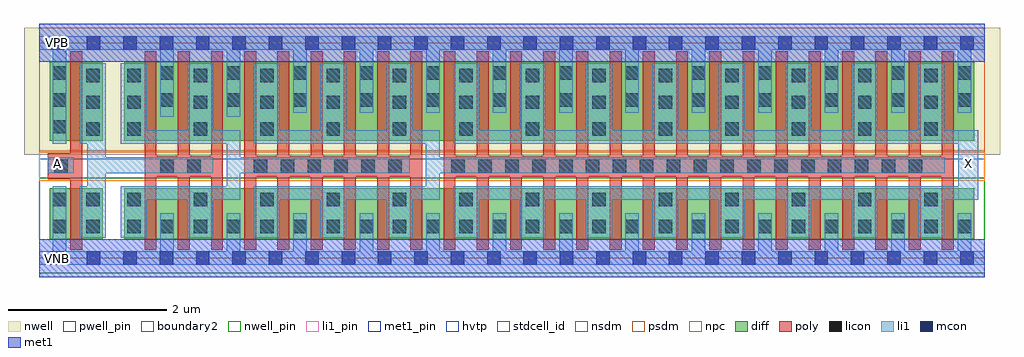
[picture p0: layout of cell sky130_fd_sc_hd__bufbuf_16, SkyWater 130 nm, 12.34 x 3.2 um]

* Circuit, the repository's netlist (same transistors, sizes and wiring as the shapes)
* Copyright 2020 The SkyWater PDK Authors
*
* Licensed under the Apache License, Version 2.0 (the "License");
* you may not use this file except in compliance with the License.
* You may obtain a copy of the License at
*
*     https://www.apache.org/licenses/LICENSE-2.0
*
* Unless required by applicable law or agreed to in writing, software
* distributed under the License is distributed on an "AS IS" BASIS,
* WITHOUT WARRANTIES OR CONDITIONS OF ANY KIND, either express or implied.
* See the License for the specific language governing permissions and
* limitations under the License.
*
* SPDX-License-Identifier: Apache-2.0


.subckt sky130_fd_sc_hd__bufbuf_16 A VGND VNB VPB VPWR X
X0 X a_549_47# VPWR VPB sky130_fd_pr__pfet_01v8_hvt w=1 l=150000u
X1 VGND a_215_47# a_549_47# VNB sky130_fd_pr__nfet_01v8 w=650000u l=150000u
X2 X a_549_47# VPWR VPB sky130_fd_pr__pfet_01v8_hvt w=1 l=150000u
X3 VGND a_549_47# X VNB sky130_fd_pr__nfet_01v8 w=650000u l=150000u
X4 VPWR a_549_47# X VPB sky130_fd_pr__pfet_01v8_hvt w=1 l=150000u
X5 VGND a_549_47# X VNB sky130_fd_pr__nfet_01v8 w=650000u l=150000u
X6 X a_549_47# VGND VNB sky130_fd_pr__nfet_01v8 w=650000u l=150000u
X7 a_549_47# a_215_47# VGND VNB sky130_fd_pr__nfet_01v8 w=650000u l=150000u
X8 X a_549_47# VPWR VPB sky130_fd_pr__pfet_01v8_hvt w=1 l=150000u
X9 a_215_47# a_109_47# VGND VNB sky130_fd_pr__nfet_01v8 w=650000u l=150000u
X10 a_549_47# a_215_47# VGND VNB sky130_fd_pr__nfet_01v8 w=650000u l=150000u
X11 VPWR a_215_47# a_549_47# VPB sky130_fd_pr__pfet_01v8_hvt w=1 l=150000u
X12 VGND a_549_47# X VNB sky130_fd_pr__nfet_01v8 w=650000u l=150000u
X13 X a_549_47# VPWR VPB sky130_fd_pr__pfet_01v8_hvt w=1 l=150000u
X14 VGND a_549_47# X VNB sky130_fd_pr__nfet_01v8 w=650000u l=150000u
X15 a_215_47# a_109_47# VPWR VPB sky130_fd_pr__pfet_01v8_hvt w=1 l=150000u
X16 X a_549_47# VPWR VPB sky130_fd_pr__pfet_01v8_hvt w=1 l=150000u
X17 VPWR a_549_47# X VPB sky130_fd_pr__pfet_01v8_hvt w=1 l=150000u
X18 a_215_47# a_109_47# VPWR VPB sky130_fd_pr__pfet_01v8_hvt w=1 l=150000u
X19 a_549_47# a_215_47# VPWR VPB sky130_fd_pr__pfet_01v8_hvt w=1 l=150000u
X20 VPWR a_549_47# X VPB sky130_fd_pr__pfet_01v8_hvt w=1 l=150000u
X21 X a_549_47# VGND VNB sky130_fd_pr__nfet_01v8 w=650000u l=150000u
X22 X a_549_47# VPWR VPB sky130_fd_pr__pfet_01v8_hvt w=1 l=150000u
X23 VPWR a_549_47# X VPB sky130_fd_pr__pfet_01v8_hvt w=1 l=150000u
X24 VPWR a_109_47# a_215_47# VPB sky130_fd_pr__pfet_01v8_hvt w=1 l=150000u
X25 VGND a_215_47# a_549_47# VNB sky130_fd_pr__nfet_01v8 w=650000u l=150000u
X26 VPWR a_549_47# X VPB sky130_fd_pr__pfet_01v8_hvt w=1 l=150000u
X27 X a_549_47# VGND VNB sky130_fd_pr__nfet_01v8 w=650000u l=150000u
X28 VPWR a_549_47# X VPB sky130_fd_pr__pfet_01v8_hvt w=1 l=150000u
X29 VGND a_215_47# a_549_47# VNB sky130_fd_pr__nfet_01v8 w=650000u l=150000u
X30 X a_549_47# VGND VNB sky130_fd_pr__nfet_01v8 w=650000u l=150000u
X31 X a_549_47# VGND VNB sky130_fd_pr__nfet_01v8 w=650000u l=150000u
X32 a_549_47# a_215_47# VPWR VPB sky130_fd_pr__pfet_01v8_hvt w=1 l=150000u
X33 a_215_47# a_109_47# VGND VNB sky130_fd_pr__nfet_01v8 w=650000u l=150000u
X34 VGND a_549_47# X VNB sky130_fd_pr__nfet_01v8 w=650000u l=150000u
X35 X a_549_47# VPWR VPB sky130_fd_pr__pfet_01v8_hvt w=1 l=150000u
X36 VGND a_549_47# X VNB sky130_fd_pr__nfet_01v8 w=650000u l=150000u
X37 VPWR a_215_47# a_549_47# VPB sky130_fd_pr__pfet_01v8_hvt w=1 l=150000u
X38 VGND A a_109_47# VNB sky130_fd_pr__nfet_01v8 w=650000u l=150000u
X39 VPWR a_215_47# a_549_47# VPB sky130_fd_pr__pfet_01v8_hvt w=1 l=150000u
X40 VGND a_549_47# X VNB sky130_fd_pr__nfet_01v8 w=650000u l=150000u
X41 VPWR A a_109_47# VPB sky130_fd_pr__pfet_01v8_hvt w=1 l=150000u
X42 VPWR a_549_47# X VPB sky130_fd_pr__pfet_01v8_hvt w=1 l=150000u
X43 VGND a_109_47# a_215_47# VNB sky130_fd_pr__nfet_01v8 w=650000u l=150000u
X44 VPWR a_549_47# X VPB sky130_fd_pr__pfet_01v8_hvt w=1 l=150000u
X45 a_549_47# a_215_47# VGND VNB sky130_fd_pr__nfet_01v8 w=650000u l=150000u
X46 VGND a_549_47# X VNB sky130_fd_pr__nfet_01v8 w=650000u l=150000u
X47 a_549_47# a_215_47# VPWR VPB sky130_fd_pr__pfet_01v8_hvt w=1 l=150000u
X48 X a_549_47# VGND VNB sky130_fd_pr__nfet_01v8 w=650000u l=150000u
X49 X a_549_47# VGND VNB sky130_fd_pr__nfet_01v8 w=650000u l=150000u
X50 X a_549_47# VPWR VPB sky130_fd_pr__pfet_01v8_hvt w=1 l=150000u
X51 X a_549_47# VGND VNB sky130_fd_pr__nfet_01v8 w=650000u l=150000u
.ends

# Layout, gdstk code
import gdstk
lib = gdstk.Library(unit=1e-6, precision=1e-09)
def R(c, l, rs):  # rectangles x0, y0, x1, y1
    for r in rs: c.add(gdstk.rectangle(r[:2], r[2:], *l))
def A(c, l, x, y, w, h, nx, ny, dx, dy):  # array of equal rectangles
    R(c, l, [(x+i*dx, y+j*dy, x+i*dx+w, y+j*dy+h) for i in range(nx) for j in range(ny)])
def P(c, l, *ps):  # polygons
    for p in ps: c.add(gdstk.Polygon(p, *l))
nwell_pin = (64, 16)
nwell = (64, 20)
diff = (65, 20)
poly = (66, 20)
licon = (66, 44)
li1_pin = (67, 16)
li1 = (67, 20)
mcon = (67, 44)
met1_pin = (68, 16)
met1 = (68, 20)
hvtp = (78, 44)
stdcell_id = (81, 4)
nsdm = (93, 44)
psdm = (94, 20)
npc = (95, 20)
pwell_pin = (122, 16)
boundary2 = (236, 0)

sky130_fd_sc_hd__bufbuf_ = lib.new_cell('sky130_fd_sc_hd__bufbuf_16')
R(sky130_fd_sc_hd__bufbuf_, nwell_pin, [(0.15,2.635,0.32,2.805)])
R(sky130_fd_sc_hd__bufbuf_, nwell, [(-0.19,1.305,12.15,2.91)])
R(sky130_fd_sc_hd__bufbuf_, diff, [(0.135,0.235,0.805,0.885), (1.075,0.235,11.825,0.885), (0.135,1.485,0.805,2.485), (1.075,1.485,11.825,2.485)])
P(sky130_fd_sc_hd__bufbuf_, poly, [(0.395,0.105),(0.395,0.995),(0.11,0.995),(0.11,1.325),(0.395,1.325),(0.395,2.615),(0.545,2.615),(0.545,0.105)],
  [(1.335,0.105),(1.335,2.615),(1.485,2.615),(1.485,1.295),(1.755,1.295),(1.755,2.615),(1.905,2.615),(1.905,1.295),(2.175,1.295),(2.175,2.615),(2.325,2.615),(2.325,0.105),(2.175,0.105),(2.175,1.025),(1.905,1.025),(1.905,0.105),(1.755,0.105),(1.755,1.025),(1.485,1.025),(1.485,0.105)],
  [(2.595,0.105),(2.595,2.615),(2.745,2.615),(2.745,1.295),(3.015,1.295),(3.015,2.615),(3.165,2.615),(3.165,1.295),(3.435,1.295),(3.435,2.615),(3.585,2.615),(3.585,1.295),(3.855,1.295),(3.855,2.615),(4.005,2.615),(4.005,1.295),(4.275,1.295),(4.275,2.615),(4.425,2.615),(4.425,1.295),(4.695,1.295),(4.695,2.615),(4.845,2.615),(4.845,0.105),(4.695,0.105),(4.695,1.025),(4.425,1.025),(4.425,0.105),(4.275,0.105),(4.275,1.025),(4.005,1.025),(4.005,0.105),(3.855,0.105),(3.855,1.025),(3.585,1.025),(3.585,0.105),(3.435,0.105),(3.435,1.025),(3.165,1.025),(3.165,0.105),(3.015,0.105),(3.015,1.025),(2.745,1.025),(2.745,0.105)],
  [(5.115,0.105),(5.115,2.615),(5.265,2.615),(5.265,1.295),(5.535,1.295),(5.535,2.615),(5.685,2.615),(5.685,1.295),(5.955,1.295),(5.955,2.615),(6.105,2.615),(6.105,1.295),(6.375,1.295),(6.375,2.615),(6.525,2.615),(6.525,1.295),(6.795,1.295),(6.795,2.615),(6.945,2.615),(6.945,1.295),(7.215,1.295),(7.215,2.615),(7.365,2.615),(7.365,1.295),(7.635,1.295),(7.635,2.615),(7.785,2.615),(7.785,1.295),(8.055,1.295),(8.055,2.615),(8.205,2.615),(8.205,1.295),(8.475,1.295),(8.475,2.615),(8.625,2.615),(8.625,1.295),(8.895,1.295),(8.895,2.615),(9.045,2.615),(9.045,1.295),(9.315,1.295),(9.315,2.615),(9.465,2.615),(9.465,1.295),(9.735,1.295),(9.735,2.615),(9.885,2.615),(9.885,1.295),(10.155,1.295),(10.155,2.615),(10.305,2.615),(10.305,1.295),(10.575,1.295),(10.575,2.615),(10.725,2.615),(10.725,1.295),(10.995,1.295),(10.995,2.615),(11.145,2.615),(11.145,1.295),(11.415,1.295),(11.415,2.615),(11.565,2.615),(11.565,0.105),(11.415,0.105),(11.415,1.025),(11.145,1.025),(11.145,0.105),(10.995,0.105),(10.995,1.025),(10.725,1.025),(10.725,0.105),(10.575,0.105),(10.575,1.025),(10.305,1.025),(10.305,0.105),(10.155,0.105),(10.155,1.025),(9.885,1.025),(9.885,0.105),(9.735,0.105),(9.735,1.025),(9.465,1.025),(9.465,0.105),(9.315,0.105),(9.315,1.025),(9.045,1.025),(9.045,0.105),(8.895,0.105),(8.895,1.025),(8.625,1.025),(8.625,0.105),(8.475,0.105),(8.475,1.025),(8.205,1.025),(8.205,0.105),(8.055,0.105),(8.055,1.025),(7.785,1.025),(7.785,0.105),(7.635,0.105),(7.635,1.025),(7.365,1.025),(7.365,0.105),(7.215,0.105),(7.215,1.025),(6.945,1.025),(6.945,0.105),(6.795,0.105),(6.795,1.025),(6.525,1.025),(6.525,0.105),(6.375,0.105),(6.375,1.025),(6.105,1.025),(6.105,0.105),(5.955,0.105),(5.955,1.025),(5.685,1.025),(5.685,0.105),(5.535,0.105),(5.535,1.025),(5.265,1.025),(5.265,0.105)])
A(sky130_fd_sc_hd__bufbuf_, licon, 1.115, 0.315, 0.17, 0.17, 26, 1, 0.42, 0)
A(sky130_fd_sc_hd__bufbuf_, licon, 1.115, 0.655, 0.17, 0.17, 13, 2, 0.84, 0.89)
A(sky130_fd_sc_hd__bufbuf_, licon, 2.715, 1.075, 0.17, 0.17, 6, 1, 0.34, 0)
A(sky130_fd_sc_hd__bufbuf_, licon, 5.215, 1.075, 0.17, 0.17, 18, 1, 0.34, 0)
A(sky130_fd_sc_hd__bufbuf_, licon, 0.595, 1.545, 0.17, 0.17, 1, 3, 0, 0.34)
A(sky130_fd_sc_hd__bufbuf_, licon, 0.175, 1.575, 0.17, 0.17, 1, 3, 0, 0.34)
A(sky130_fd_sc_hd__bufbuf_, licon, 1.115, 1.885, 0.17, 0.17, 13, 2, 0.84, 0.34)
A(sky130_fd_sc_hd__bufbuf_, licon, 1.535, 1.915, 0.17, 0.17, 13, 2, 0.84, 0.34)
R(sky130_fd_sc_hd__bufbuf_, licon, [(0.175,0.315,0.345,0.485), (0.595,0.315,0.765,0.485), (0.175,0.655,0.345,0.825), (0.595,0.655,0.765,0.825), (0.19,1.075,0.36,1.245), (1.535,1.075,1.705,1.245), (1.875,1.075,2.045,1.245)])
R(sky130_fd_sc_hd__bufbuf_, li1_pin, [(11.62,0.735,11.875,1.615), (0.11,1.075,0.44,1.275)])
R(sky130_fd_sc_hd__bufbuf_, li1, [(0.11,1.075,0.44,1.275)])
P(sky130_fd_sc_hd__bufbuf_, li1, [(0.515,0.26),(0.515,0.905),(0.61,0.905),(0.61,1.445),(0.515,1.445),(0.515,2.465),(0.845,2.465),(0.845,1.275),(2.205,1.275),(2.205,1.075),(0.845,1.075),(0.845,0.26)],
  [(0,-0.085),(0,0.085),(0.175,0.085),(0.175,0.905),(0.345,0.905),(0.345,0.085),(1.535,0.085),(1.535,0.565),(1.705,0.565),(1.705,0.085),(2.375,0.085),(2.375,0.565),(2.545,0.565),(2.545,0.085),(3.215,0.085),(3.215,0.565),(3.385,0.565),(3.385,0.085),(4.055,0.085),(4.055,0.565),(4.225,0.565),(4.225,0.085),(4.895,0.085),(4.895,0.565),(5.065,0.565),(5.065,0.085),(5.735,0.085),(5.735,0.565),(5.905,0.565),(5.905,0.085),(6.575,0.085),(6.575,0.565),(6.745,0.565),(6.745,0.085),(7.415,0.085),(7.415,0.565),(7.585,0.565),(7.585,0.085),(8.255,0.085),(8.255,0.565),(8.425,0.565),(8.425,0.085),(9.095,0.085),(9.095,0.565),(9.265,0.565),(9.265,0.085),(9.935,0.085),(9.935,0.565),(10.105,0.565),(10.105,0.085),(10.775,0.085),(10.775,0.565),(10.945,0.565),(10.945,0.085),(11.615,0.085),(11.615,0.565),(11.785,0.565),(11.785,0.085),(11.96,0.085),(11.96,-0.085)],
  [(0.175,1.445),(0.175,2.635),(0,2.635),(0,2.805),(11.96,2.805),(11.96,2.635),(11.785,2.635),(11.785,1.835),(11.615,1.835),(11.615,2.635),(10.945,2.635),(10.945,1.835),(10.775,1.835),(10.775,2.635),(10.105,2.635),(10.105,1.835),(9.935,1.835),(9.935,2.635),(9.265,2.635),(9.265,1.835),(9.095,1.835),(9.095,2.635),(8.425,2.635),(8.425,1.835),(8.255,1.835),(8.255,2.635),(7.585,2.635),(7.585,1.835),(7.415,1.835),(7.415,2.635),(6.745,2.635),(6.745,1.835),(6.575,1.835),(6.575,2.635),(5.905,2.635),(5.905,1.835),(5.735,1.835),(5.735,2.635),(5.065,2.635),(5.065,1.835),(4.895,1.835),(4.895,2.635),(4.225,2.635),(4.225,1.835),(4.055,1.835),(4.055,2.635),(3.385,2.635),(3.385,1.835),(3.215,1.835),(3.215,2.635),(2.545,2.635),(2.545,1.785),(2.375,1.785),(2.375,2.635),(1.705,2.635),(1.705,1.785),(1.535,1.785),(1.535,2.635),(0.345,2.635),(0.345,1.445)],
  [(1.035,0.26),(1.035,0.905),(2.375,0.905),(2.375,1.445),(1.035,1.445),(1.035,2.465),(1.365,2.465),(1.365,1.615),(1.875,1.615),(1.875,2.465),(2.205,2.465),(2.205,1.615),(2.545,1.615),(2.545,1.275),(4.685,1.275),(4.685,1.075),(2.545,1.075),(2.545,0.735),(2.205,0.735),(2.205,0.26),(1.875,0.26),(1.875,0.735),(1.365,0.735),(1.365,0.26)],
  [(2.715,0.26),(2.715,0.905),(4.89,0.905),(4.89,1.445),(2.715,1.445),(2.715,2.465),(3.045,2.465),(3.045,1.615),(3.555,1.615),(3.555,2.465),(3.885,2.465),(3.885,1.615),(4.395,1.615),(4.395,2.465),(4.725,2.465),(4.725,1.615),(5.065,1.615),(5.065,1.275),(11.45,1.275),(11.45,1.075),(5.065,1.075),(5.065,0.735),(4.725,0.735),(4.725,0.26),(4.395,0.26),(4.395,0.735),(3.885,0.735),(3.885,0.26),(3.555,0.26),(3.555,0.735),(3.045,0.735),(3.045,0.26)],
  [(5.235,0.255),(5.235,0.905),(11.62,0.905),(11.62,1.445),(5.235,1.445),(5.235,2.465),(5.565,2.465),(5.565,1.615),(6.075,1.615),(6.075,2.465),(6.405,2.465),(6.405,1.615),(6.915,1.615),(6.915,2.465),(7.245,2.465),(7.245,1.615),(7.755,1.615),(7.755,2.465),(8.085,2.465),(8.085,1.615),(8.595,1.615),(8.595,2.465),(8.925,2.465),(8.925,1.615),(9.435,1.615),(9.435,2.465),(9.765,2.465),(9.765,1.615),(10.275,1.615),(10.275,2.465),(10.605,2.465),(10.605,1.615),(11.115,1.615),(11.115,2.465),(11.445,2.465),(11.445,1.615),(11.875,1.615),(11.875,0.735),(11.445,0.735),(11.445,0.26),(11.115,0.26),(11.115,0.735),(10.605,0.735),(10.605,0.26),(10.275,0.26),(10.275,0.735),(9.765,0.735),(9.765,0.26),(9.435,0.26),(9.435,0.735),(8.925,0.735),(8.925,0.26),(8.595,0.26),(8.595,0.735),(8.085,0.735),(8.085,0.26),(7.755,0.26),(7.755,0.735),(7.245,0.735),(7.245,0.26),(7.165,0.26),(7.165,0.255),(6.995,0.255),(6.995,0.26),(6.915,0.26),(6.915,0.735),(6.405,0.735),(6.405,0.26),(6.325,0.26),(6.325,0.255),(6.155,0.255),(6.155,0.26),(6.075,0.26),(6.075,0.735),(5.565,0.735),(5.565,0.26),(5.485,0.26),(5.485,0.255)])
A(sky130_fd_sc_hd__bufbuf_, mcon, 0.145, -0.085, 0.17, 0.17, 26, 2, 0.46, 2.72)
R(sky130_fd_sc_hd__bufbuf_, met1_pin, [(0,-0.24,11.96,0.24), (0,2.48,11.96,2.96)])
R(sky130_fd_sc_hd__bufbuf_, met1, [(0,-0.24,11.96,0.24), (0,2.48,11.96,2.96)])
R(sky130_fd_sc_hd__bufbuf_, hvtp, [(0,1.25,11.96,2.72)])
R(sky130_fd_sc_hd__bufbuf_, stdcell_id, [(0,0,11.96,2.72)])
R(sky130_fd_sc_hd__bufbuf_, nsdm, [(0,-0.19,11.96,1.015)])
R(sky130_fd_sc_hd__bufbuf_, psdm, [(0,1.355,11.96,2.91)])
R(sky130_fd_sc_hd__bufbuf_, npc, [(0,0.975,11.96,1.345)])
R(sky130_fd_sc_hd__bufbuf_, pwell_pin, [(0.15,-0.085,0.32,0.085)])
R(sky130_fd_sc_hd__bufbuf_, boundary2, [(0,0,11.96,2.72)])
sky130_fd_sc_hd__bufbuf_.add(gdstk.Label('A', (0.235,1.19), layer=67, texttype=5))
sky130_fd_sc_hd__bufbuf_.add(gdstk.Label('X', (11.755,1.19), layer=67, texttype=5))
sky130_fd_sc_hd__bufbuf_.add(gdstk.Label('VNB', (0.235,0), layer=64, texttype=59))
sky130_fd_sc_hd__bufbuf_.add(gdstk.Label('VPB', (0.235,2.72), layer=64, texttype=5))
sky130_fd_sc_hd__bufbuf_.add(gdstk.Label('VGND', (0.23,0), layer=68, texttype=5))
sky130_fd_sc_hd__bufbuf_.add(gdstk.Label('VPWR', (0.23,2.72), layer=68, texttype=5))

lib.write_gds('sky130_fd_sc_hd__bufbuf_16.gds')
